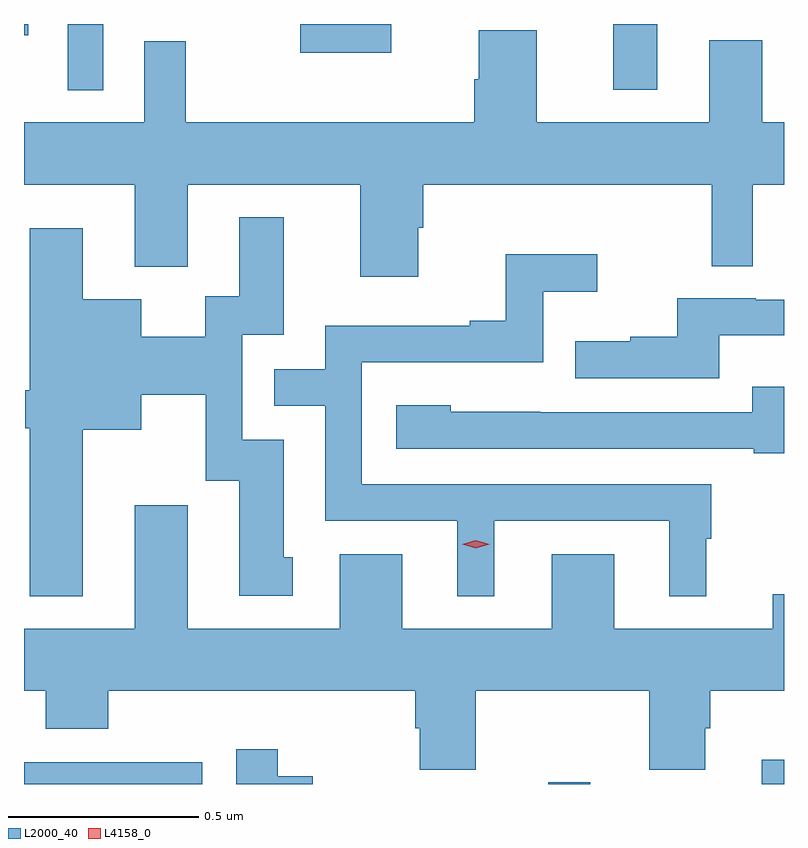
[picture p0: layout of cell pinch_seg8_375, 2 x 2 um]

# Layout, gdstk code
import gdstk
lib = gdstk.Library(unit=1e-6, precision=1e-09)
def R(c, l, rs):  # rectangles x0, y0, x1, y1
    for r in rs: c.add(gdstk.rectangle(r[:2], r[2:], *l))
def P(c, l, *ps):  # polygons
    for p in ps: c.add(gdstk.Polygon(p, *l))
L2000_40 = (2000, 40)
L4158_0 = (4158, 0)

pinch_seg8_375 = lib.new_cell('pinch_seg8_375')
R(pinch_seg8_375, L2000_40, [(388.526,1113.591,388.995,1113.648), (389.905,1113.591,390.016,1113.595), (390.467,1113.591,390.526,1113.655), (388.641,1115.417,388.734,1115.591), (390.077,1115.418,390.193,1115.591), (389.253,1115.516,389.493,1115.591), (388.526,1115.562,388.537,1115.591)])
P(pinch_seg8_375, L2000_40, [(389.563,1115.055),(389.576,1115.055),(389.576,1115.168),(390.336,1115.168),(390.336,1114.954),(390.444,1114.954),(390.444,1115.168),(390.526,1115.168),(390.526,1115.332),(390.469,1115.332),(390.469,1115.548),(390.329,1115.548),(390.329,1115.332),(389.875,1115.332),(389.875,1115.575),(389.723,1115.575),(389.723,1115.445),(389.711,1115.445),(389.711,1115.332),(388.951,1115.332),(388.951,1115.546),(388.842,1115.546),(388.842,1115.332),(388.526,1115.332),(388.526,1115.168),(388.817,1115.168),(388.817,1114.952),(388.957,1114.952),(388.957,1115.168),(389.411,1115.168),(389.411,1114.926),(389.563,1114.926)],
  [(388.681,1114.523),(388.834,1114.523),(388.834,1114.616),(389.004,1114.616),(389.004,1114.389),(389.093,1114.389),(389.093,1114.086),(389.233,1114.086),(389.233,1114.188),(389.209,1114.188),(389.209,1114.497),(389.1,1114.497),(389.1,1114.773),(389.209,1114.773),(389.209,1115.083),(389.093,1115.083),(389.093,1114.874),(389.003,1114.874),(389.003,1114.768),(388.834,1114.768),(388.834,1114.867),(388.681,1114.867),(388.681,1115.053),(388.541,1115.053),(388.541,1114.627),(388.529,1114.627),(388.529,1114.527),(388.541,1114.527),(388.541,1114.085),(388.681,1114.085)],
  [(389.764,1114.284),(390.224,1114.284),(390.224,1114.085),(390.322,1114.085),(390.322,1114.236),(390.334,1114.236),(390.334,1114.38),(389.415,1114.38),(389.415,1114.701),(389.892,1114.701),(389.892,1114.886),(390.034,1114.886),(390.034,1114.985),(389.794,1114.985),(389.794,1114.81),(389.699,1114.81),(389.699,1114.797),(389.319,1114.797),(389.319,1114.683),(389.185,1114.683),(389.185,1114.587),(389.319,1114.587),(389.319,1114.284),(389.666,1114.284),(389.666,1114.085),(389.764,1114.085)],
  [(390.355,1114.772),(390.526,1114.772),(390.526,1114.866),(390.452,1114.866),(390.452,1114.869),(390.245,1114.869),(390.245,1114.768),(390.121,1114.768),(390.121,1114.756),(389.977,1114.756),(389.977,1114.659),(390.355,1114.659)],
  [(390.526,1114.636),(390.443,1114.636),(390.443,1114.569),(389.885,1114.569),(389.885,1114.57),(389.649,1114.57),(389.649,1114.588),(389.505,1114.588),(389.505,1114.473),(390.447,1114.473),(390.447,1114.461),(390.526,1114.461)],
  [(389.715,1113.836),(390.172,1113.836),(390.172,1113.628),(390.319,1113.628),(390.319,1113.738),(390.332,1113.738),(390.332,1113.836),(390.526,1113.836),(390.526,1114.091),(390.497,1114.091),(390.497,1114),(390.079,1114),(390.079,1114.195),(389.915,1114.195),(389.915,1114),(389.521,1114),(389.521,1114.195),(389.357,1114.195),(389.357,1114),(388.957,1114),(388.957,1114.324),(388.817,1114.324),(388.817,1114),(388.526,1114),(388.526,1113.836),(388.583,1113.836),(388.583,1113.737),(388.748,1113.737),(388.748,1113.836),(389.555,1113.836),(389.555,1113.738),(389.567,1113.738),(389.567,1113.628),(389.715,1113.628)],
  [(389.286,1113.612),(389.194,1113.612),(389.194,1113.682),(389.085,1113.682),(389.085,1113.591),(389.286,1113.591)])
P(pinch_seg8_375, L4158_0, [(389.715,1114.212),(389.679,1114.222),(389.679,1114.222),(389.679,1114.222),(389.715,1114.232),(389.751,1114.222),(389.751,1114.222),(389.751,1114.222)])

lib.write_gds('pinch_seg8_375.gds')
